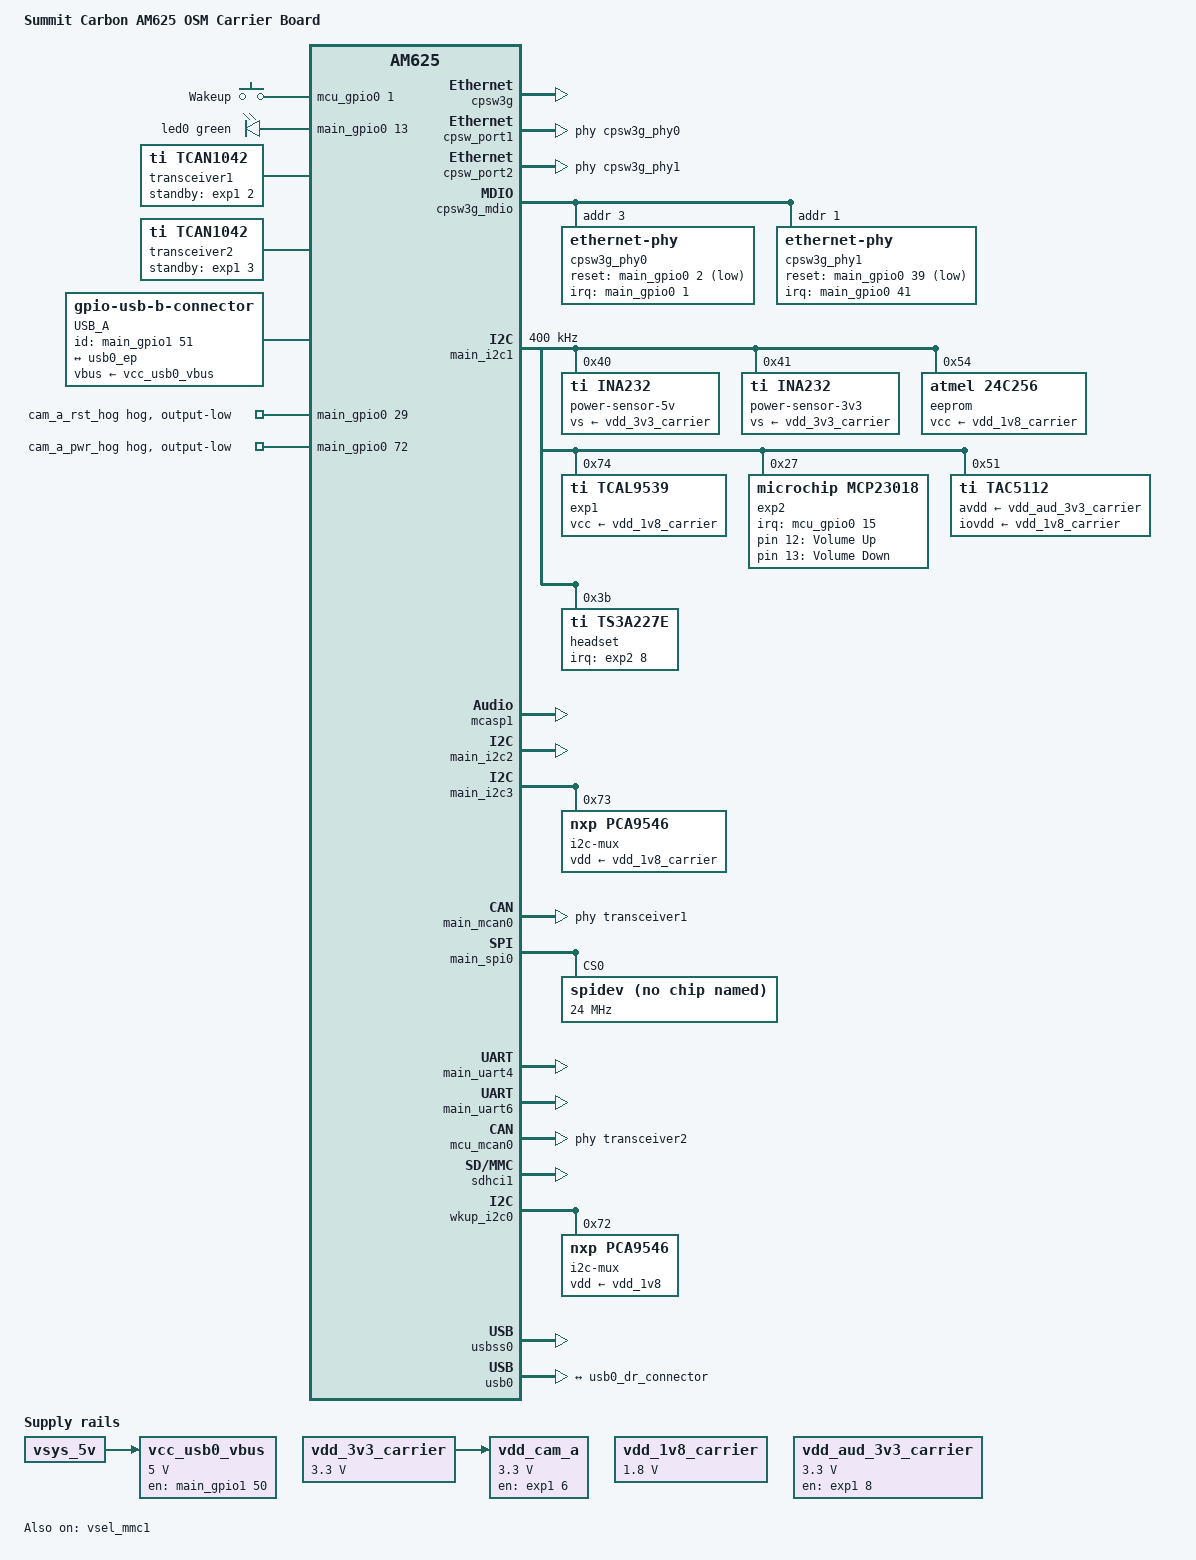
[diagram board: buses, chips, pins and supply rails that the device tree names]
// SPDX-License-Identifier: GPL-2.0-or-later OR MIT
/*
 * Copyright 2024 Ezurio LLC
 *
 */

/dts-v1/;

#include <dt-bindings/leds/common.h>

#include "k3-am625-carbon-som.dtsi"

/ {
	model = "Summit Carbon AM625 OSM Carrier Board";
	compatible = "summit,am62-dev", "ti,am625";

	aliases {
		gpio3 = &exp1;
		gpio4 = &exp2;
	};

	vdd_3v3_carrier: vdd-3v3-carrier {
		/* output 2 of U4 */
		compatible = "regulator-fixed";
		regulator-name = "vdd_3v3_carrier";
		regulator-min-microvolt = <3300000>;
		regulator-max-microvolt = <3300000>;
		regulator-always-on;
		regulator-boot-on;
	};

	vdd_1v8_carrier: vdd-1v8-carrier {
		/* output 3 of U4 */
		compatible = "regulator-fixed";
		regulator-name = "vdd_1v8_carrier";
		regulator-min-microvolt = <1800000>;
		regulator-max-microvolt = <1800000>;
		regulator-always-on;
		regulator-boot-on;
	};

	vdd_aud_3v3_carrier: vdd-aud-3v3-carrier {
		compatible = "regulator-fixed";
		regulator-name = "vdd_aud_3v3_carrier";
		regulator-min-microvolt = <3300000>;
		regulator-max-microvolt = <3300000>;
		enable-active-high;
		gpios = <&exp1 8 GPIO_ACTIVE_HIGH>;
		regulator-always-on;
	};

	vdd_cam_a: vdd-cam-a {
		compatible = "regulator-fixed";
		regulator-name = "vdd_cam_a";
		vin-supply = <&vdd_3v3_carrier>;
		regulator-min-microvolt = <3300000>;
		regulator-max-microvolt = <3300000>;
		enable-active-high;
		gpios = <&exp1 6 GPIO_ACTIVE_HIGH>;
		startup-delay-us = <50000>;
	};

	codec_audio: sound {
		compatible = "simple-audio-card";

		simple-audio-card,bitclock-master = <&dailink0_master>;
		simple-audio-card,frame-master = <&dailink0_master>;

		simple-audio-card,name = "ti,tac5x1x-soundcard";
		simple-audio-card,format = "i2s";

		simple-audio-card,widgets =
			"Headphone", "Headphone Jack",
			"Line",      "Line In",
			"Line",      "Line Out";

		simple-audio-card,routing =
			"Headphone Jack", "OUT1",
			"Headphone Jack", "OUT2",
			"AIN1", "Line In",
			"AIN2", "Line In",
			"Line Out", "OUT1",
			"Line Out", "OUT2";

		simple-audio-card,aux-devs = <&headset>;

		dailink0_master: simple-audio-card,cpu {
			sound-dai = <&mcasp1>;
			bitclock-master;
			frame-master;
			system-clock-direction-out;
		};

		simple-audio-card,codec {
			sound-dai = <&tac5112>;
		};
	};

	dvk_keys {
		compatible = "gpio-keys";

		pinctrl-names = "default";
		pinctrl-0 = <&osm_gpio_a_7_pins_default>;

		volume-up {
			label = "Volume Up";
			interrupts-extended = <&exp2 12 IRQ_TYPE_EDGE_FALLING>;
			interrupt-names = "irq";
			linux,code = <KEY_VOLUMEUP>;

			//gpios = <&exp2 12 (GPIO_ACTIVE_LOW | GPIO_PULL_UP)>;
			//wakeup-event-action = <EV_ACT_ASSERTED>;
		};

		volume-down {
			label = "Volume Down";
			interrupts-extended = <&exp2 13 IRQ_TYPE_EDGE_FALLING>;
			interrupt-names = "irq";
			linux,code = <KEY_VOLUMEDOWN>;

			//gpios = <&exp2 13 (GPIO_ACTIVE_LOW | GPIO_PULL_UP)>;
			//wakeup-event-action = <EV_ACT_ASSERTED>;
		};

		wakeup {
			label = "Wakeup";
			interrupts-extended = <&mcu_gpio0 1 IRQ_TYPE_EDGE_FALLING>;
			interrupt-names = "irq";
			linux,code = <KEY_WAKEUP>;
			wakeup-source;

			//gpios = <&mcu_gpio0 1 GPIO_ACTIVE_LOW>;
			//wakeup-event-action = <EV_ACT_ASSERTED>;
		};
	};

	leds {
		compatible = "gpio-leds";

		pinctrl-names = "default";
		pinctrl-0 = <&osm_gpio_a_0_pins_default>;

		led0 {
			color = <LED_COLOR_ID_GREEN>;
			gpios = <&main_gpio0 13 GPIO_ACTIVE_HIGH>;
			default-state = "off";
		};
	};

	transceiver1: can-phy0 {
		compatible = "ti,tcan1042";
		#phy-cells = <0>;
		max-bitrate = <5000000>;
		standby-gpios = <&exp1 2 GPIO_ACTIVE_HIGH>; /* TCAN1046 STB is active HIGH */
	};

	transceiver2: can-phy1 {
		compatible = "ti,tcan1042";
		#phy-cells = <0>;
		max-bitrate = <5000000>;
		standby-gpios = <&exp1 3 GPIO_ACTIVE_HIGH>; /* TCAN1046 STB is active HIGH */
	};

	vcc_usb0_vbus: regulator-usb0-vbus {
		compatible = "regulator-fixed";
		vin-supply = <&vsys_5v>;
		pinctrl-names = "default";
		pinctrl-0 = <&main_usb0_pins_default>;
		enable-active-high;
		gpios = <&main_gpio1 50 GPIO_ACTIVE_HIGH>;
		regulator-max-microvolt = <5000000>;
		regulator-min-microvolt = <5000000>;
		regulator-name = "vcc_usb0_vbus";
	};

	con_usb0: connector-usb0 {
		compatible = "gpio-usb-b-connector", "usb-b-connector";
		pinctrl-names = "default";
		pinctrl-0 = <&main_usb_a_id_pins_default>;
		id-gpios = <&main_gpio1 51 GPIO_ACTIVE_HIGH>;
		label = "USB_A";
		self-powered;
		vbus-supply = <&vcc_usb0_vbus>;

		port {
			usb0_dr_connector: endpoint {
				remote-endpoint = <&usb0_ep>;
			};
		};
	};
};

&main_gpio0 {
	cam_a_rst_hog: cam-a-rst-hog {
		gpio-hog;
		gpios = <29 GPIO_ACTIVE_HIGH>;
		output-low;
	};

	cam_a_pwr_hog: cam-a-pwr-hog {
		gpio-hog;
		gpios = <72 GPIO_ACTIVE_HIGH>;
		output-low;
	};
};

&cpsw3g {
	status = "okay";
};

&cpsw_port1 {
	status = "okay";
	phy-handle = <&cpsw3g_phy0>;
};

&cpsw_port2 {
	status = "okay";
	phy-handle = <&cpsw3g_phy1>;
};

&cpsw3g_mdio {
	pinctrl-names = "default";
	pinctrl-0 = <&main_mdio0_pins_default>, <&main_rgmii_phy0_gpio>,
		<&main_rgmii_phy1_gpio>;

	status = "okay";

	cpsw3g_phy0: ethernet-phy@3 {
		reg = <3>;
		interrupts-extended = <&main_gpio0 1 IRQ_TYPE_EDGE_FALLING>;
		reset-gpios = <&main_gpio0 2 GPIO_ACTIVE_LOW>;
		reset-assert-us = <150>;
		reset-deassert-us = <300>;
		ti,rx-internal-delay = <DP83867_RGMIIDCTL_2_00_NS>;
		tx-fifo-depth = <DP83867_PHYCR_FIFO_DEPTH_4_B_NIB>;
		rx-fifo-depth = <DP83867_PHYCR_FIFO_DEPTH_4_B_NIB>;
		ti,clk-output-sel = <DP83867_CLK_O_SEL_OFF>;
	};

	cpsw3g_phy1: ethernet-phy@1 {
		reg = <1>;
		interrupts-extended = <&main_gpio0 41 IRQ_TYPE_EDGE_FALLING>;
		reset-gpios = <&main_gpio0 39 GPIO_ACTIVE_LOW>;
		reset-assert-us = <150>;
		reset-deassert-us = <300>;
		ti,rx-internal-delay = <DP83867_RGMIIDCTL_2_00_NS>;
		tx-fifo-depth = <DP83867_PHYCR_FIFO_DEPTH_4_B_NIB>;
		rx-fifo-depth = <DP83867_PHYCR_FIFO_DEPTH_4_B_NIB>;
		ti,clk-output-sel = <DP83867_CLK_O_SEL_OFF>;
	};
};

&osm_gpio_a_3_pins_default {
	pinctrl-single,pins = <
		AM62X_MCU_IOPAD(0x03c, PIN_INPUT_PULLUP, 7) /* GPIO_A_3 (E5) MCU_MCAN1_TX.GPIO0_15 */
	>;
};

&main_i2c1 { /* I2C_A */
	status = "okay";
	clock-frequency = <400000>;

	power-sensor-5v@40 {
		compatible = "ti,ina232"; /* TI, INA232AIDDFR */
		reg = <0x40>;
		vs-supply = <&vdd_3v3_carrier>;
		shunt-resistor = <33000>; /* 0.033 Ohms */
	};

	power-sensor-3v3@41 {
		compatible = "ti,ina232"; /* TI, INA232AIDDFR */
		reg = <0x41>;
		vs-supply = <&vdd_3v3_carrier>;
		shunt-resistor = <33000>; /* 0.033 Ohms */
	};

	eeprom@54 {
		/* U53, Giantec, GT24C256C-2GLI-TR */
		compatible = "atmel,24c256";
		reg = <0x54>;
		vcc-supply = <&vdd_1v8_carrier>;
	};

	exp1: gpio@74 {
		/* U35, TI, TCAL9539RTWR */
		compatible = "ti,tcal9539", "nxp,pcal9535";
		vcc-supply = <&vdd_1v8_carrier>;
		reg = <0x74>;

		#gpio-cells = <2>;
		gpio-controller;

		gpio-line-names = "USB_C_OEn_P00", "USB_D_OEn_P01",
			"CAN_A_STB", "CAN_B_STB",
			"M2_WDISABLE1#", "M2_WDISABLE2#",
			"CSI_PWR_CTL_A", "CSI_PWR_CTL_B",
			"AUD_PWR_EN", "M2_Vendor_DF38", "CSI_PWR_CTL_C",
			"CHGR_CE#", "M2_POWER_EN",
			"CSI_PWR_CTL_B", "SDIO_A_SEL", "NC";
	};

	exp2: gpio@27 {
		/* U21, Microchip, MCP23018 */
		compatible = "microchip,mcp23018";
		reg = <0x27>;
		#gpio-cells = <2>;
		gpio-controller;

		gpio-line-names = "ACD_nINT", "M2_UART_WAKE",
			"M2_SD_HOST_WAKE", "CHRGR_INTn", 
			"VOL_UP", "VOL_DOWN",
			"", "DSI_A_IRQ",
			"DSI_A_INT", "DSI_A_HPD",
			"LVDS_D_INT", "LVDS_D_HPD",
			"LVDS_E_INT", "LVDS_E_HPD",
			"RGB_INT", "RGB_HDMI_HPD";

		pinctrl-names = "default";
		pinctrl-0 = <&osm_gpio_a_3_pins_default>;

		#interrupt-cells = <2>;
		interrupt-controller;
		microchip,irq-mirror;

		interrupts-extended = <&mcu_gpio0 15 IRQ_TYPE_EDGE_FALLING>;
		interrupt-names = "irq";
	};

	tac5112: audio-codec@51 {
		/* U19, TI, XTAC5112IRGER */
		#sound-dai-cells = <0>;
		compatible = "ti,tac5112";
		reg = <0x51>;

		ti,vref = <0>;  /* 2.75V */
		ti,micbias-vg = <0>; /* same as Vref */
		ti,gpios-func = <0>, <0>, <0>; /* GPIOx - Disable */
		ti,gpi1-func = <0>;

		avdd-supply = <&vdd_aud_3v3_carrier>;
		iovdd-supply = <&vdd_1v8_carrier>;
	};

	headset: ts3a227e@3b {
		/* U20, TI, TS3A227ERVAR */
		compatible = "ti,ts3a227e";
		reg = <0x3b>;

		interrupts-extended = <&exp2 8 IRQ_TYPE_EDGE_FALLING>;
		interrupt-names = "irq";
		ti,micbias = <6>; /* 2.7V, must match mic bias from codec */
	};
};

&mcasp1 {
	status = "okay";
};

&main_i2c2 { /* I2C_B */
	status = "okay";
};

&main_i2c3 { /* I2C_CAM */
	status = "okay";

	i2c-mux@73 {
		compatible = "nxp,pca9546"; /* U34 TCA9546APWR */
		reg = <0x73>;
		vdd-supply = <&vdd_1v8_carrier>;
		#address-cells = <1>;
		#size-cells = <0>;

		i2c_cam_a: i2c-cam-a@0 {
			reg = <0>;
			#address-cells = <1>;
			#size-cells = <0>;
		};

		i2c_cam_b: i2c-cam-b@1 {
			reg = <1>;
			#address-cells = <1>;
			#size-cells = <0>;
		};

		i2c_cam_c: i2c-cam-c@2 {
			reg = <2>;
			#address-cells = <1>;
			#size-cells = <0>;
		};

		i2c_cam_d: i2c-cam-d@3 {
			reg = <3>;
			#address-cells = <1>;
			#size-cells = <0>;
		};
	};
};

&main_mcan0 { /* CAN_A */
	status = "okay";
	phys = <&transceiver1>;
};

&main_usb0_pins_default {
	pinctrl-single,pins = <
		AM62X_IOPAD(0x254, PIN_INPUT, 7) /* USB_A_EN (C20) USB0_DRVVBUS.GPIO1_50 */
	>;
};

&osm_gpio_a_7_pins_default {
	pinctrl-single,pins = <
		AM62X_MCU_IOPAD(0x004, PIN_INPUT_PULLUP, 7) /* GPIO_A_7 (B8) MCU_SPI0_CS1.MCU_GPIO0_1 */
	>;
};

&main_spi0 { /* SPI_B */
	status = "okay";

	spidev@0 {
		compatible = "rohm,dh2228fv";
		spi-max-frequency = <24000000>;
		reg = <0>;
	};
};

&main_uart4 { /* UART_D */
	status = "okay";
};

&main_uart6 { /* UART_A */
	status = "okay";
};

&mcu_mcan0 { /* CAN_B */
	status = "okay";
	phys = <&transceiver2>;
	/delete-property/ wakeup-source;
};

&vsel_mmc1 {
	status = "okay";
};

&vdd_mmc1 {
	status = "okay";
};

&sdhci1 { /* SDIO_A uSD / M.2_SDIO */
	status = "okay";
};

&wkup_i2c0 { /* I2C_C */
	status = "okay";

	i2c-mux@72 {
		compatible = "nxp,pca9546"; /* U22 TCA9546APWR */
		reg = <0x72>;

		vdd-supply = <&vdd_1v8>;
		#address-cells = <1>;
		#size-cells = <0>;

		i2c_port_a: i2c-port-a@0 {
			reg = <0>;
			#address-cells = <1>;
			#size-cells = <0>;
		};

		i2c_port_d: i2c-port-d@1 {
			reg = <1>;
			#address-cells = <1>;
			#size-cells = <0>;
		};

		i2c_port_e: i2c-port-e@2 {
			reg = <2>;
			#address-cells = <1>;
			#size-cells = <0>;
		};

		i2c_port_rgb: i2c-port-rgb@3 {
			reg = <3>;
			#address-cells = <1>;
			#size-cells = <0>;
		};
	};
};

&usbss0 {
	status = "okay";
	ti,vbus-divider;
};

&usbss1 {
	ti,vbus-divider;
};

&usb0 {
	adp-disable;
	usb-role-switch;

	port {
		usb0_ep: endpoint {
			remote-endpoint = <&usb0_dr_connector>;
		};
	};
};

&usb1 {
	pinctrl-names = "default";
	pinctrl-0 = <&main_usb1_pins_default>;
};
